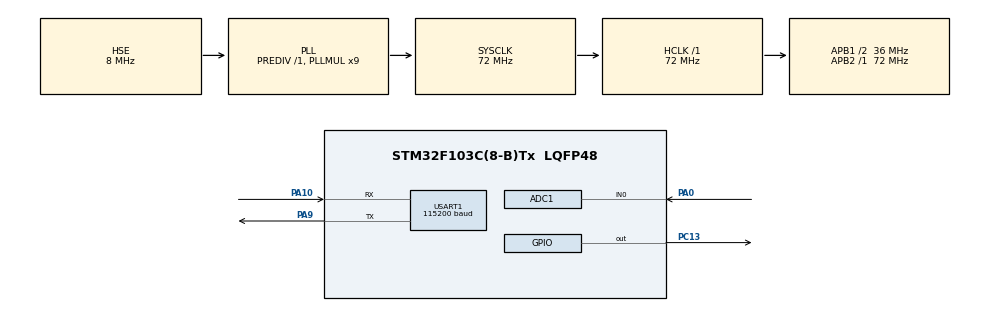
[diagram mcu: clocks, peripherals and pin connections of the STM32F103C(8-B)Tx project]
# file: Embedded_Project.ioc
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ADC1.Channel-0\#ChannelRegularConversion=ADC_CHANNEL_0
ADC1.ContinuousConvMode=ENABLE
ADC1.NbrOfConversionFlag=1
ADC1.Rank-0\#ChannelRegularConversion=1
ADC1.SamplingTime-0\#ChannelRegularConversion=ADC_SAMPLETIME_1CYCLE_5
ADC1.master=1
Mcu.Family=STM32F1
Mcu.Name=STM32F103C(8-B)Tx
Mcu.Package=LQFP48
NVIC.ADC1_2_IRQn=true\:0\:0\:false\:false\:true\:true\:true
NVIC.PriorityGroup=NVIC_PRIORITYGROUP_4
NVIC.USART1_IRQn=true\:0\:0\:false\:false\:true\:true\:true
PA0-WKUP.Signal=ADCx_IN0
PA10.Mode=Asynchronous
PA10.Signal=USART1_RX
PA13.Mode=Serial_Wire
PA13.Signal=SYS_JTMS-SWDIO
PA14.Mode=Serial_Wire
PA14.Signal=SYS_JTCK-SWCLK
PA9.Mode=Asynchronous
PA9.Signal=USART1_TX
PC13-TAMPER-RTC.Signal=GPIO_Output
PD0-OSC_IN.Mode=HSE-External-Oscillator
PD0-OSC_IN.Signal=RCC_OSC_IN
PD1-OSC_OUT.Mode=HSE-External-Oscillator
PD1-OSC_OUT.Signal=RCC_OSC_OUT
ProjectManager.HeapSize=0x200
ProjectManager.StackSize=0x400
ProjectManager.TargetToolchain=MDK-ARM V5.27
RCC.ADCPresc=RCC_ADCPCLK2_DIV6
RCC.AHBFreq_Value=72000000
RCC.APB1CLKDivider=RCC_HCLK_DIV2
RCC.APB1Freq_Value=36000000
RCC.APB1TimFreq_Value=72000000
RCC.APB2Freq_Value=72000000
RCC.APB2TimFreq_Value=72000000
RCC.HCLKFreq_Value=72000000
RCC.PLLMUL=RCC_PLL_MUL9
RCC.PLLSourceVirtual=RCC_PLLSOURCE_HSE
RCC.SYSCLKFreq_VALUE=72000000
RCC.SYSCLKSource=RCC_SYSCLKSOURCE_PLLCLK
RCC.USBFreq_Value=72000000
SH.ADCx_IN0.0=ADC1_IN0,IN0
USART1.BaudRate=115200
USART1.VirtualMode=VM_ASYNC
board=custom

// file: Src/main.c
/* USER CODE BEGIN Header */
/**
  ******************************************************************************
  * @file           : main.c
  * @brief          : Main program body
  ******************************************************************************
  * @attention
  *
  * <h2><center>&copy; Copyright (c) 2020 STMicroelectronics.
  * All rights reserved.</center></h2>
  *
  * This software component is licensed by ST under BSD 3-Clause license,
  * the "License"; You may not use this file except in compliance with the
  * License. You may obtain a copy of the License at:
  *                        opensource.org/licenses/BSD-3-Clause
  *
  ******************************************************************************
  */
/* USER CODE END Header */

#include "main.h"

/* USER CODE BEGIN Includes */
#include <string.h>
#include <stdio.h>
/* USER CODE END Includes */

ADC_HandleTypeDef hadc1;

UART_HandleTypeDef huart1;

/* USER CODE BEGIN PV */
int tick = 0;
uint32_t pulse;
int flag =1;
int Sample = 0;
char temp[100];
char s [] ="";
uint32_t buffer;
char done[1000];
char done2[] = "Done\r\n";
int numOfSamples = 1;
int samplingRate = 0;
int samplingTime = 0;
int threshold = 3000;
int newBeat = 1;
int bpm = 0;
int period = 0;
/* USER CODE END PV */

void SystemClock_Config(void);
static void MX_GPIO_Init(void);
static void MX_ADC1_Init(void);
static void MX_USART1_UART_Init(void);

/* USER CODE BEGIN 0 */
void BPM(uint32_t val){
	if(newBeat == 1 && (val > threshold))
	{
		bpm++;
		newBeat = 0;
	}else{
		if (val < threshold){
			newBeat = 1;
		}
	}
}

void startADC(){
	pulse = HAL_ADC_GetValue(&hadc1);
	BPM(pulse);
	numOfSamples++;
	sprintf(temp, "%d\r\n", pulse);
	HAL_UART_Transmit(&huart1,(uint8_t *)temp, strlen(temp), 10);
}

void HAL_IncTick()
{
	if(Sample == 1){
		flag = 1;
		tick++;
		if((tick >= period*samplingRate) && (flag == 1)){
			Sample = 0;
			tick = 0;
			flag = 0;
			samplingRate = 0;
			samplingTime = 0;
			period = 0;
			HAL_ADC_Stop(&hadc1);
			HAL_SuspendTick();
			sprintf(done, "BPM = %d\r\n", bpm);
			HAL_UART_Transmit(&huart1,(uint8_t *)done, strlen(done), 10);
			numOfSamples = 0;
			bpm = 0;
		}

		if(flag == 1){
			startADC();
		}
	}
}

void HAL_UART_RxCpltCallback (UART_HandleTypeDef * huart)
{
	HAL_UART_Receive_IT(&huart1,(uint8_t *) s , sizeof(s));
}
/* USER CODE END 0 */

int main(void)
{

  /* MCU Configuration--------------------------------------------------------*/

  /* Reset of all peripherals, Initializes the Flash interface and the Systick. */
  HAL_Init();

  /* Configure the system clock */
  SystemClock_Config();

  /* Initialize all configured peripherals */
  MX_GPIO_Init();
  MX_ADC1_Init();
  MX_USART1_UART_Init();

  /* Infinite loop */
  /* USER CODE BEGIN WHILE */
	HAL_UART_Receive_IT(&huart1,(uint8_t *)s, sizeof(s));

	while (1)
	{
    /* USER CODE END WHILE */

	}
}

void SystemClock_Config(void)
{
  RCC_OscInitTypeDef RCC_OscInitStruct = {0};
  RCC_ClkInitTypeDef RCC_ClkInitStruct = {0};
  RCC_PeriphCLKInitTypeDef PeriphClkInit = {0};

  /** Initializes the CPU, AHB and APB busses clocks
  */
  RCC_OscInitStruct.OscillatorType = RCC_OSCILLATORTYPE_HSE;
  RCC_OscInitStruct.HSEState = RCC_HSE_ON;
  RCC_OscInitStruct.HSEPredivValue = RCC_HSE_PREDIV_DIV1;
  RCC_OscInitStruct.HSIState = RCC_HSI_ON;
  RCC_OscInitStruct.PLL.PLLState = RCC_PLL_ON;
  RCC_OscInitStruct.PLL.PLLSource = RCC_PLLSOURCE_HSE;
  RCC_OscInitStruct.PLL.PLLMUL = RCC_PLL_MUL9;
  if (HAL_RCC_OscConfig(&RCC_OscInitStruct) != HAL_OK)
  {
    Error_Handler();
  }
  /** Initializes the CPU, AHB and APB busses clocks
  */
  RCC_ClkInitStruct.ClockType = RCC_CLOCKTYPE_HCLK|RCC_CLOCKTYPE_SYSCLK
                              |RCC_CLOCKTYPE_PCLK1|RCC_CLOCKTYPE_PCLK2;
  RCC_ClkInitStruct.SYSCLKSource = RCC_SYSCLKSOURCE_PLLCLK;
  RCC_ClkInitStruct.AHBCLKDivider = RCC_SYSCLK_DIV1;
  RCC_ClkInitStruct.APB1CLKDivider = RCC_HCLK_DIV2;
  RCC_ClkInitStruct.APB2CLKDivider = RCC_HCLK_DIV1;

  if (HAL_RCC_ClockConfig(&RCC_ClkInitStruct, FLASH_LATENCY_2) != HAL_OK)
  {
    Error_Handler();
  }
  PeriphClkInit.PeriphClockSelection = RCC_PERIPHCLK_ADC;
  PeriphClkInit.AdcClockSelection = RCC_ADCPCLK2_DIV6;
  if (HAL_RCCEx_PeriphCLKConfig(&PeriphClkInit) != HAL_OK)
  {
    Error_Handler();
  }
}

static void MX_ADC1_Init(void)
{

  ADC_ChannelConfTypeDef sConfig = {0};

  /** Common config
  */
  hadc1.Instance = ADC1;
  hadc1.Init.ScanConvMode = ADC_SCAN_DISABLE;
  hadc1.Init.ContinuousConvMode = ENABLE;
  hadc1.Init.DiscontinuousConvMode = DISABLE;
  hadc1.Init.ExternalTrigConv = ADC_SOFTWARE_START;
  hadc1.Init.DataAlign = ADC_DATAALIGN_RIGHT;
  hadc1.Init.NbrOfConversion = 1;
  if (HAL_ADC_Init(&hadc1) != HAL_OK)
  {
    Error_Handler();
  }
  /** Configure Regular Channel
  */
  sConfig.Channel = ADC_CHANNEL_0;
  sConfig.Rank = ADC_REGULAR_RANK_1;
  sConfig.SamplingTime = ADC_SAMPLETIME_1CYCLE_5;
  if (HAL_ADC_ConfigChannel(&hadc1, &sConfig) != HAL_OK)
  {
    Error_Handler();
  }

}

static void MX_USART1_UART_Init(void)
{

  huart1.Instance = USART1;
  huart1.Init.BaudRate = 115200;
  huart1.Init.WordLength = UART_WORDLENGTH_8B;
  huart1.Init.StopBits = UART_STOPBITS_1;
  huart1.Init.Parity = UART_PARITY_NONE;
  huart1.Init.Mode = UART_MODE_TX_RX;
  huart1.Init.HwFlowCtl = UART_HWCONTROL_NONE;
  huart1.Init.OverSampling = UART_OVERSAMPLING_16;
  if (HAL_UART_Init(&huart1) != HAL_OK)
  {
    Error_Handler();
  }

}

static void MX_GPIO_Init(void)
{
  GPIO_InitTypeDef GPIO_InitStruct = {0};

  /* GPIO Ports Clock Enable */
  __HAL_RCC_GPIOC_CLK_ENABLE();
  __HAL_RCC_GPIOD_CLK_ENABLE();
  __HAL_RCC_GPIOA_CLK_ENABLE();

  /*Configure GPIO pin Output Level */
  HAL_GPIO_WritePin(GPIOC, GPIO_PIN_13, GPIO_PIN_RESET);

  /*Configure GPIO pin : PC13 */
  GPIO_InitStruct.Pin = GPIO_PIN_13;
  GPIO_InitStruct.Mode = GPIO_MODE_OUTPUT_PP;
  GPIO_InitStruct.Pull = GPIO_NOPULL;
  GPIO_InitStruct.Speed = GPIO_SPEED_FREQ_LOW;
  HAL_GPIO_Init(GPIOC, &GPIO_InitStruct);

}

void Error_Handler(void)
{
}

/************************ (C) COPYRIGHT STMicroelectronics *****END OF FILE****/
